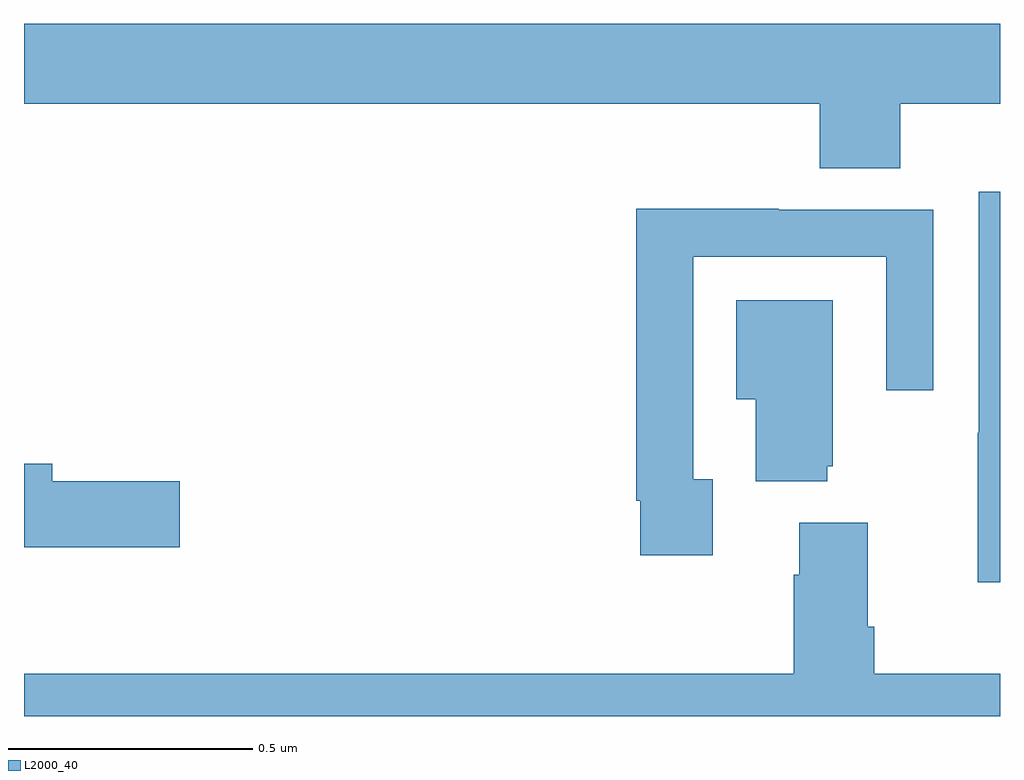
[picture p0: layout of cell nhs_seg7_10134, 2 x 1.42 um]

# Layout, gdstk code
import gdstk
lib = gdstk.Library(unit=1e-6, precision=1e-09)
def P(c, l, *ps):  # polygons
    for p in ps: c.add(gdstk.Polygon(p, *l))
L2000_40 = (2000, 40)

nhs_seg7_10134 = lib.new_cell('nhs_seg7_10134')
P(nhs_seg7_10134, L2000_40, [(247.796,1027.256),(248,1027.256),(248,1027.42),(246,1027.42),(246,1027.256),(247.631,1027.256),(247.631,1027.123),(247.796,1027.123)],
  [(248,1027.075),(247.956,1027.075),(247.956,1026.581),(247.954,1026.581),(247.954,1026.275),(248,1026.275)],
  [(247.411,1026.486),(247.371,1026.486),(247.371,1026.942),(247.767,1026.942),(247.767,1026.669),(247.863,1026.669),(247.863,1027.038),(247.547,1027.038),(247.547,1027.04),(247.255,1027.04),(247.255,1026.442),(247.263,1026.442),(247.263,1026.33),(247.411,1026.33)],
  [(247.646,1026.513),(247.657,1026.513),(247.657,1026.853),(247.46,1026.853),(247.46,1026.65),(247.499,1026.65),(247.499,1026.482),(247.646,1026.482)],
  [(246.319,1026.482),(246.058,1026.482),(246.058,1026.518),(246,1026.518),(246,1026.347),(246.319,1026.347)],
  [(248,1026.088),(247.742,1026.088),(247.742,1026.184),(247.729,1026.184),(247.729,1026.397),(247.589,1026.397),(247.589,1026.29),(247.577,1026.29),(247.577,1026.088),(246,1026.088),(246,1026),(248,1026)])

lib.write_gds('nhs_seg7_10134.gds')
